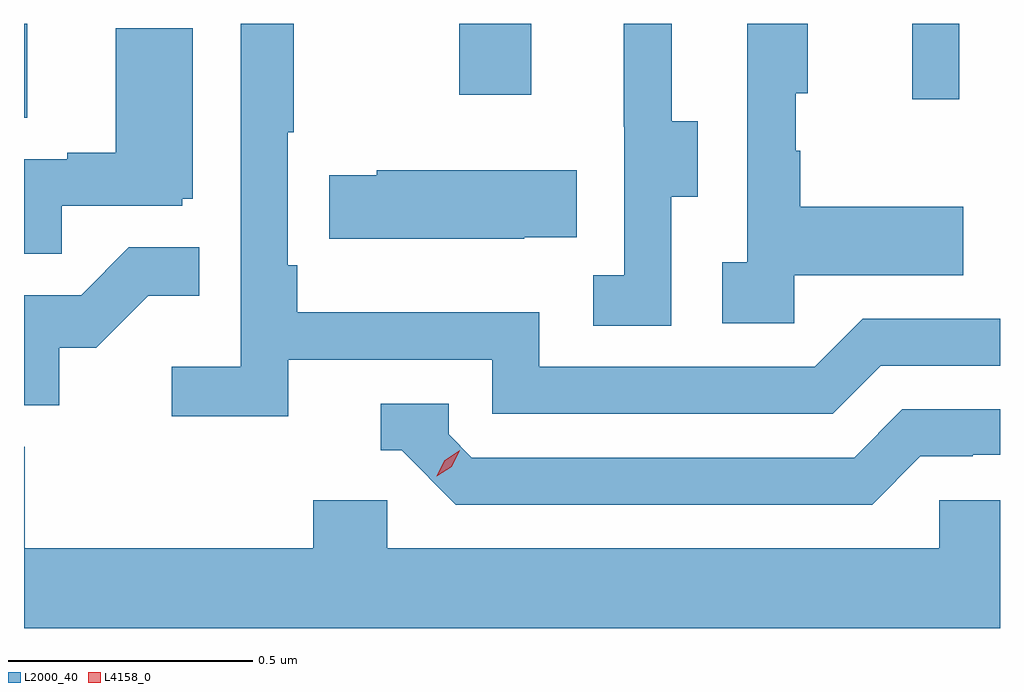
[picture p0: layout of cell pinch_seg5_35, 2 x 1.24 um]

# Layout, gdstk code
import gdstk
lib = gdstk.Library(unit=1e-6, precision=1e-09)
def R(c, l, rs):  # rectangles x0, y0, x1, y1
    for r in rs: c.add(gdstk.rectangle(r[:2], r[2:], *l))
def P(c, l, *ps):  # polygons
    for p in ps: c.add(gdstk.Polygon(p, *l))
L2000_40 = (2000, 40)
L4158_0 = (4158, 0)

pinch_seg5_35 = lib.new_cell('pinch_seg5_35')
R(pinch_seg5_35, L2000_40, [(1090.008,904.426,1090.015,904.618), (1091.828,904.464,1091.925,904.618), (1090.9,904.473,1091.047,904.618)])
P(pinch_seg5_35, L2000_40, [(1090.55,903.93),(1090.968,903.93),(1090.968,903.819),(1091.665,903.819),(1091.764,903.918),(1092.008,903.918),(1092.008,904.014),(1091.727,904.014),(1091.628,903.915),(1091.064,903.915),(1091.064,904.027),(1090.568,904.027),(1090.568,904.123),(1090.548,904.123),(1090.548,904.396),(1090.561,904.396),(1090.561,904.618),(1090.452,904.618),(1090.452,903.916),(1090.311,903.916),(1090.311,903.814),(1090.55,903.814)],
  [(1091.334,904.264),(1091.389,904.264),(1091.389,904.419),(1091.335,904.419),(1091.335,904.618),(1091.237,904.618),(1091.237,904.407),(1091.238,904.407),(1091.238,904.103),(1091.175,904.103),(1091.175,904),(1091.334,904)],
  [(1091.586,904.103),(1091.933,904.103),(1091.933,904.243),(1091.599,904.243),(1091.599,904.358),(1091.589,904.358),(1091.589,904.476),(1091.614,904.476),(1091.614,904.618),(1091.49,904.618),(1091.49,904.13),(1091.439,904.13),(1091.439,904.005),(1091.586,904.005)],
  [(1090.085,904.245),(1090.332,904.245),(1090.332,904.26),(1090.354,904.26),(1090.354,904.609),(1090.196,904.609),(1090.196,904.354),(1090.097,904.354),(1090.097,904.341),(1090.008,904.341),(1090.008,904.147),(1090.085,904.147)],
  [(1091.033,904.181),(1091.141,904.181),(1091.141,904.318),(1090.731,904.318),(1090.731,904.308),(1090.633,904.308),(1090.633,904.178),(1091.033,904.178)],
  [(1090.08,903.954),(1090.156,903.954),(1090.263,904.061),(1090.367,904.061),(1090.367,904.16),(1090.223,904.16),(1090.125,904.062),(1090.008,904.062),(1090.008,903.837),(1090.08,903.837)],
  [(1091.845,903.732),(1091.952,903.732),(1091.952,903.735),(1092.008,903.735),(1092.008,903.828),(1091.808,903.828),(1091.709,903.729),(1090.926,903.729),(1090.878,903.777),(1090.878,903.84),(1090.739,903.84),(1090.739,903.744),(1090.782,903.744),(1090.893,903.633),(1091.746,903.633)],
  [(1092.008,903.642),(1091.883,903.642),(1091.883,903.544),(1090.752,903.544),(1090.752,903.642),(1090.601,903.642),(1090.601,903.544),(1090.01,903.544),(1090.01,903.752),(1090.008,903.752),(1090.008,903.38),(1092.008,903.38)])
P(pinch_seg5_35, L4158_0, [(1090.854,903.691),(1090.854,903.692),(1090.87,903.724),(1090.901,903.744),(1090.901,903.744),(1090.901,903.744),(1090.885,903.711),(1090.854,903.691)])

lib.write_gds('pinch_seg5_35.gds')
